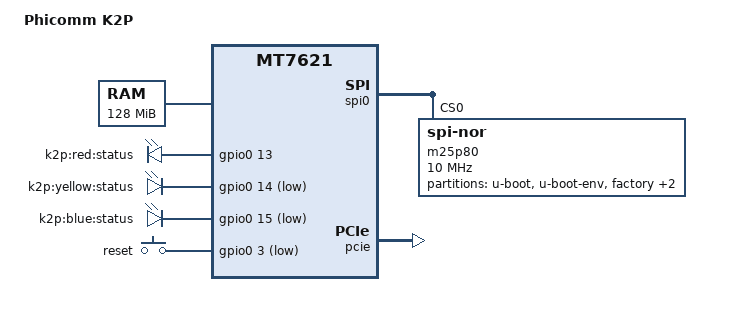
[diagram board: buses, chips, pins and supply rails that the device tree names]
/dts-v1/;

#include "mt7621.dtsi"

#include <dt-bindings/gpio/gpio.h>
#include <dt-bindings/input/input.h>

/ {
	compatible = "phicomm,k2p", "mediatek,mt7621-soc";
	model = "Phicomm K2P";

	aliases {
		led-boot = &led_blue;
		led-failsafe = &led_blue;
		led-running = &led_blue;
		led-upgrade = &led_blue;
	};

	memory@0 {
		device_type = "memory";
		reg = <0x0 0x8000000>;
	};

	chosen {
		bootargs = "console=ttyS0,57600";
	};

	gpio-leds {
		compatible = "gpio-leds";

		stat_r {
			label = "k2p:red:status";
			gpios = <&gpio0 13 GPIO_ACTIVE_HIGH>;
		};

		stat_y {
			label = "k2p:yellow:status";
			gpios = <&gpio0 14 GPIO_ACTIVE_LOW>;
		};

		led_blue: stat_b {
			label = "k2p:blue:status";
			gpios = <&gpio0 15 GPIO_ACTIVE_LOW>;
		};
	};

	gpio-keys-polled {
		compatible = "gpio-keys-polled";
		poll-interval = <20>;

		reset {
			label = "reset";
			gpios = <&gpio0 3 GPIO_ACTIVE_LOW>;
			linux,code = <KEY_RESTART>;
		};
	};
};

&spi0 {
	status = "okay";

	m25p80@0 {
		compatible = "jedec,spi-nor";
		reg = <0>;
		spi-max-frequency = <10000000>;
		m25p,chunked-io = <32>;

		partitions {
			compatible = "fixed-partitions";
			#address-cells = <1>;
			#size-cells = <1>;

			partition@0 {
				label = "u-boot";
				reg = <0x0 0x30000>;
				read-only;
			};

			partition@30000 {
				label = "u-boot-env";
				reg = <0x30000 0x10000>;
				read-only;
			};

			factory: partition@40000 {
				label = "factory";
				reg = <0x40000 0x10000>;
				read-only;
			};

			partition@50000 {
				label = "permanent_config";
				reg = <0x50000 0x50000>;
				read-only;
			};

			partition@a0000 {
				compatible = "denx,uimage";
				label = "firmware";
				reg = <0xa0000 0xf60000>;
			};
		};
	};
};

&pcie {
	status = "okay";
};

&pcie0 {
	mt76@0,0 {
		reg = <0x0000 0 0 0 0>;
		mediatek,mtd-eeprom = <&factory 0x0>;
	};
};

&ethernet {
	mtd-mac-address = <&factory 0xe006>;
};

&pinctrl {
	state_default: pinctrl0 {
		gpio {
			ralink,group = "i2c", "jtag";
			ralink,function = "gpio";
		};
	};
};
